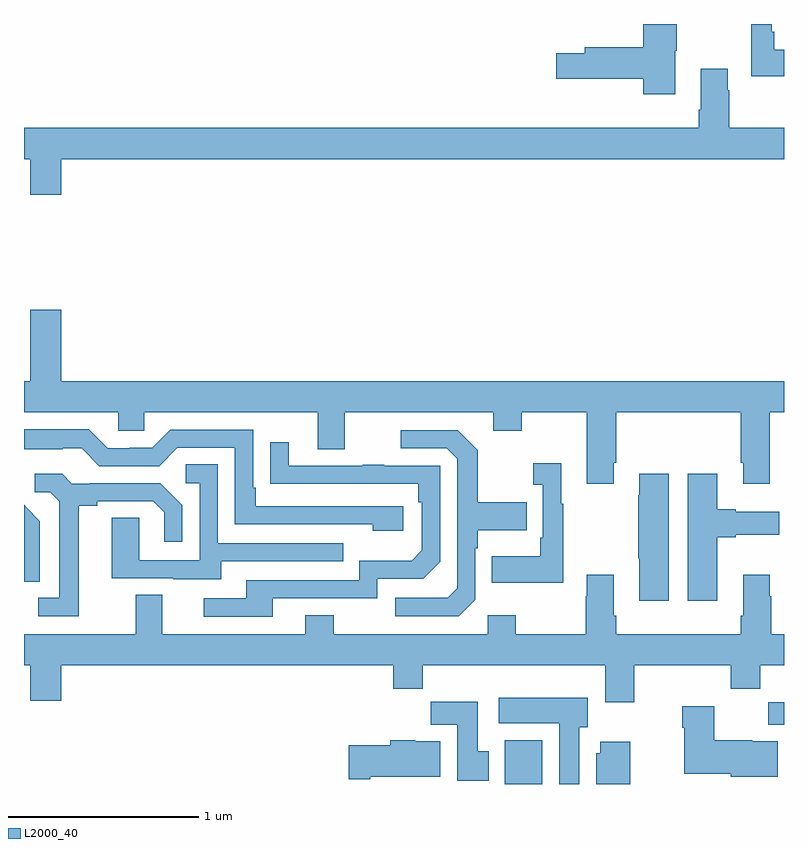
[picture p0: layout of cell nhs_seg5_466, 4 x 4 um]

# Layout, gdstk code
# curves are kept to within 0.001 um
import gdstk
lib = gdstk.Library(unit=1e-6, precision=1e-09)
def R(c, l, rs):  # rectangles x0, y0, x1, y1
    for r in rs: c.add(gdstk.rectangle(r[:2], r[2:], *l))
def P(c, l, *ps):  # polygons
    for p in ps: c.add(gdstk.Polygon(p, *l))
L2000_40 = (2000, 40)

nhs_seg5_466 = lib.new_cell('nhs_seg5_466')
R(nhs_seg5_466, L2000_40, [(143.531,858.799,143.728,859.03), (144.916,859.112,145,859.23)])
P(nhs_seg5_466, L2000_40, [(144.427,862.659),(144.435,862.659),(144.435,862.799),(144.26,862.799),(144.26,862.676),(143.951,862.676),(143.951,862.646),(143.802,862.646),(143.802,862.511),(144.26,862.511),(144.26,862.428),(144.427,862.428)],
  [(145,862.663),(144.949,862.663),(144.949,862.759),(144.936,862.759),(144.936,862.799),(144.828,862.799),(144.828,862.523),(145,862.523)],
  [(141.196,862.088),(145,862.088),(145,862.252),(144.711,862.252),(144.711,862.451),(144.703,862.451),(144.703,862.564),(144.563,862.564),(144.563,862.348),(144.551,862.348),(144.551,862.252),(141,862.252),(141,862.088),(141.032,862.088),(141.032,861.9),(141.196,861.9)],
  [(141.196,861.295),(141.032,861.295),(141.032,860.92),(141,860.92),(141,860.756),(141.495,860.756),(141.495,860.658),(141.633,860.658),(141.633,860.756),(142.547,860.756),(142.547,860.562),(142.687,860.562),(142.687,860.756),(143.471,860.756),(143.471,860.657),(143.619,860.657),(143.619,860.756),(143.963,860.756),(143.963,860.379),(144.103,860.379),(144.103,860.491),(144.116,860.491),(144.116,860.756),(144.773,860.756),(144.773,860.491),(144.785,860.491),(144.785,860.379),(144.925,860.379),(144.925,860.756),(145,860.756),(145,860.92),(141.196,860.92)],
  [(142.996,860.262),(142.219,860.262),(142.219,860.359),(142.206,860.359),(142.206,860.664),(141.771,860.664),(141.675,860.568),(141.557,860.568),(141.557,860.565),(141.441,860.565),(141.341,860.665),(141,860.665),(141,860.561),(141.203,860.561),(141.203,860.565),(141.303,860.565),(141.396,860.472),(141.711,860.472),(141.807,860.568),(142.11,860.568),(142.11,860.166),(142.835,860.166),(142.835,860.132),(142.996,860.132)],
  [(143.376,859.77),(143.376,860.039),(143.389,860.039),(143.389,860.135),(143.645,860.135),(143.645,860.283),(143.389,860.283),(143.389,860.555),(143.283,860.661),(142.983,860.661),(142.983,860.565),(143.226,860.565),(143.28,860.511),(143.28,859.83),(143.229,859.779),(142.953,859.779),(142.953,859.683),(143.289,859.683)],
  [(142.309,859.776),(142.86,859.776),(142.86,859.878),(143.1,859.878),(143.19,859.968),(143.19,860.475),(142.895,860.475),(142.895,860.48),(142.783,860.48),(142.783,860.475),(142.393,860.475),(142.393,860.599),(142.297,860.599),(142.297,860.38),(143.074,860.379),(143.074,860.282),(143.094,860.282),(143.094,860.028),(143.041,859.975),(142.764,859.975),(142.764,859.872),(142.169,859.872),(142.169,859.776),(141.945,859.776),(141.945,859.68),(142.309,859.68)],
  [(143.839,860.275),(143.827,860.275),(143.827,860.488),(143.679,860.488),(143.679,860.375),(143.73,860.375),(143.73,860.095),(143.718,860.095),(143.718,859.999),(143.461,859.999),(143.461,859.859),(143.839,859.859)],
  [(142.039,859.971),(142.679,859.971),(142.679,860.067),(142.02,860.067),(142.02,860.483),(141.852,860.483),(141.852,860.382),(141.924,860.382),(141.924,859.977),(141.606,859.977),(141.606,860.201),(141.461,860.201),(141.461,859.881),(141.785,859.881),(141.785,859.877),(142.039,859.877)],
  [(141.289,860.264),(141.385,860.264),(141.385,860.286),(141.68,860.286),(141.737,860.229),(141.737,860.073),(141.834,860.073),(141.834,860.266),(141.718,860.382),(141.346,860.382),(141.346,860.379),(141.252,860.379),(141.2,860.431),(141.057,860.431),(141.057,860.334),(141.138,860.334),(141.185,860.287),(141.185,859.779),(141.075,859.779),(141.075,859.683),(141.289,859.683)],
  [(144.649,860.099),(144.745,860.099),(144.745,860.111),(144.976,860.111),(144.976,860.233),(144.745,860.233),(144.745,860.246),(144.649,860.246),(144.649,860.431),(144.494,860.431),(144.494,859.764),(144.649,859.764)],
  [(144.394,860.431),(144.239,860.431),(144.239,860.318),(144.232,860.318),(144.232,859.987),(144.239,859.987),(144.239,859.764),(144.394,859.764)],
  [(141.084,860.182),(141.011,860.255),(141.012,860.256),(141,860.268),(141,859.864),(141.084,859.864)],
  [(144.212,859.424),(144.719,859.424),(144.719,859.3),(144.875,859.3),(144.875,859.424),(145,859.424),(145,859.588),(144.933,859.588),(144.933,859.787),(144.925,859.787),(144.925,859.9),(144.785,859.9),(144.785,859.684),(144.773,859.684),(144.773,859.588),(144.116,859.588),(144.116,859.684),(144.103,859.684),(144.103,859.9),(143.963,859.9),(143.963,859.787),(143.956,859.787),(143.956,859.588),(143.589,859.588),(143.589,859.687),(143.442,859.687),(143.442,859.588),(142.629,859.588),(142.629,859.687),(142.481,859.687),(142.481,859.588),(141.727,859.588),(141.727,859.796),(141.587,859.796),(141.587,859.588),(141,859.588),(141,859.424),(141.032,859.424),(141.032,859.236),(141.196,859.236),(141.196,859.424),(142.943,859.424),(142.943,859.3),(143.099,859.3),(143.099,859.424),(144.059,859.424),(144.059,859.23),(144.212,859.23)],
  [(143.923,859.098),(143.968,859.098),(143.968,859.252),(143.499,859.252),(143.499,859.118),(143.816,859.118),(143.816,858.799),(143.923,858.799)],
  [(143.446,858.972),(143.389,858.972),(143.389,859.231),(143.14,859.231),(143.14,859.112),(143.279,859.112),(143.279,858.816),(143.446,858.816)],
  [(144.967,859.024),(144.834,859.024),(144.834,859.03),(144.634,859.03),(144.634,859.207),(144.464,859.207),(144.464,859.094),(144.476,859.094),(144.476,858.854),(144.72,858.854),(144.72,858.836),(144.967,858.836)],
  [(142.822,858.836),(143.191,858.836),(143.191,859.024),(143.058,859.024),(143.058,859.03),(142.928,859.03),(142.928,859.002),(142.71,859.002),(142.71,858.824),(142.822,858.824)],
  [(144.19,859.021),(144.032,859.021),(144.032,858.96),(144.011,858.96),(144.011,858.799),(144.19,858.799)])

lib.write_gds('nhs_seg5_466.gds')
